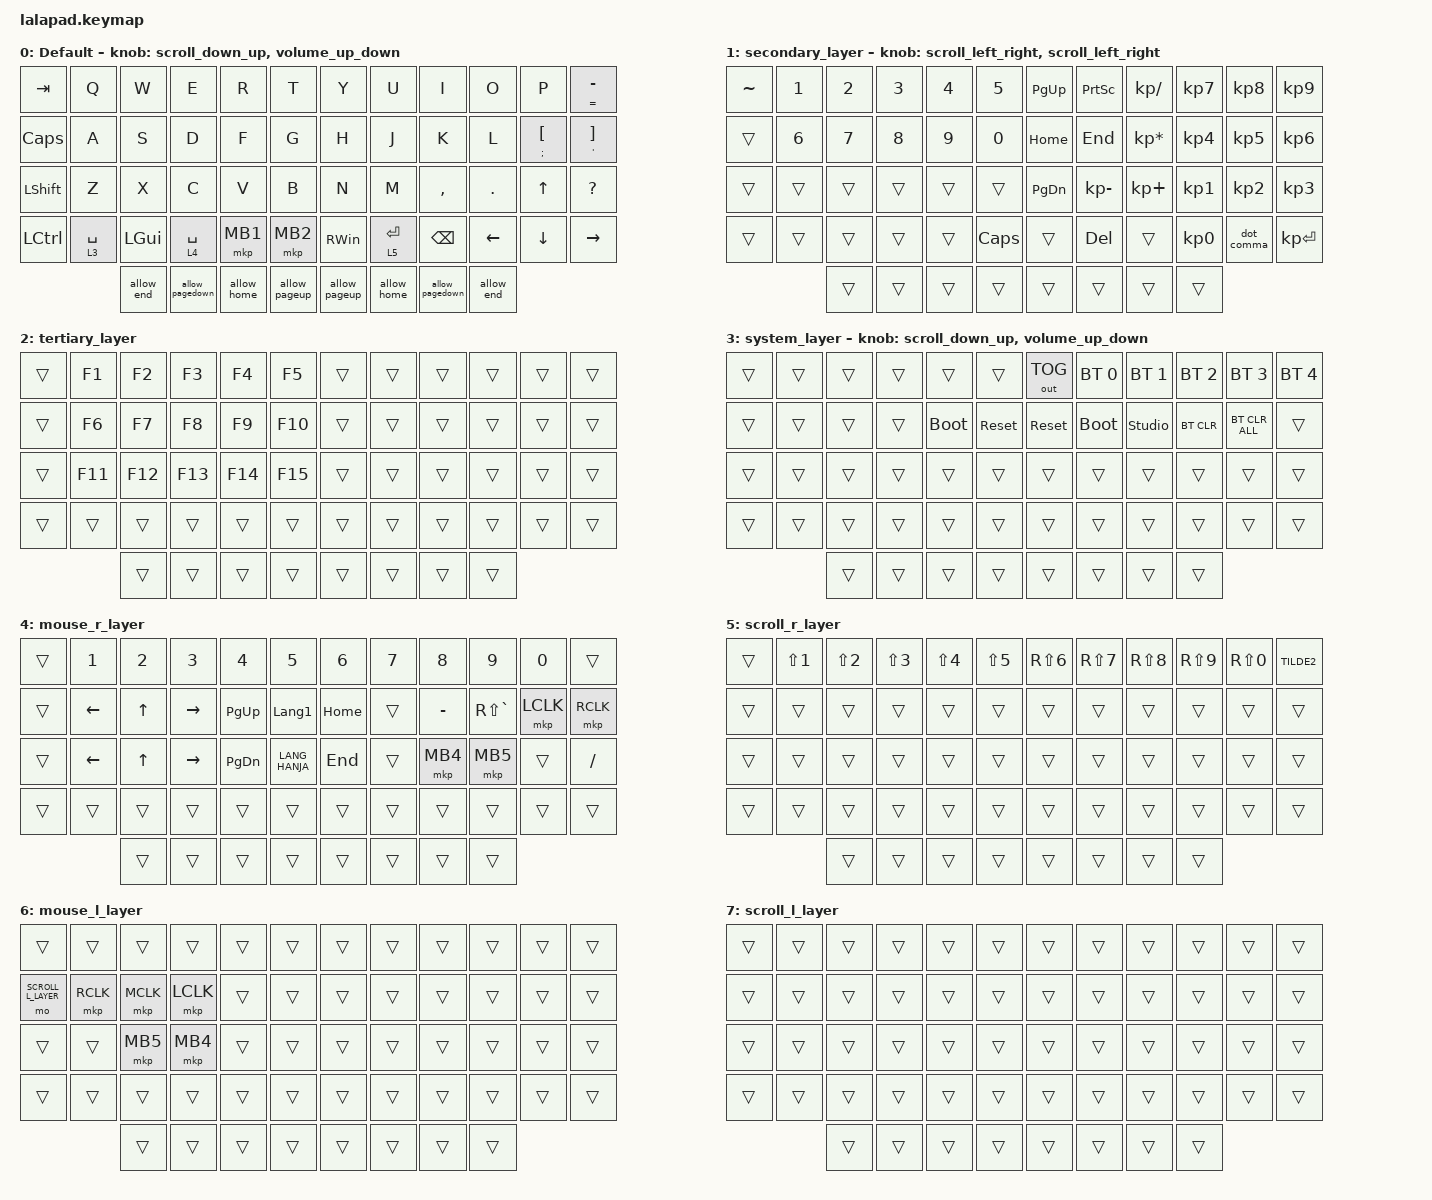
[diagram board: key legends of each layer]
#include <input/processors.dtsi>
#include <behaviors.dtsi>
#include <dt-bindings/zmk/bt.h>
#include <dt-bindings/zmk/keys.h>
#include <dt-bindings/zmk/outputs.h>
#include <dt-bindings/zmk/pointing.h>

#define DEFAULT_LAYER   0
#define SECONDARY_LAYER 1
#define TERTIARY_LAYER  2
#define SYSTEM_LAYER    3
#define MOUSE_R_LAYER   4
#define SCROLL_R_LAYER  5
#define MOUSE_L_LAYER   6
#define SCROLL_L_LAYER  7

// Mouse Scroll Value

#define ZMK_POINTING_DEFAULT_SCRL_VAL 100

// cirque trackpad input&layer control

&glidepoint_listener_R {
    input-processors =
        <&zip_xy_transform (INPUT_TRANSFORM_XY_SWAP | INPUT_TRANSFORM_X_INVERT | INPUT_TRANSFORM_Y_INVERT)>,
        <&zip_xy_scaler 3 2>,
        <&zip_temp_layer MOUSE_R_LAYER 500>;

    lowspeedmode {
        layers = <SECONDARY_LAYER>;
        input-processors =
            <&zip_xy_transform (INPUT_TRANSFORM_XY_SWAP | INPUT_TRANSFORM_X_INVERT | INPUT_TRANSFORM_Y_INVERT)>,
            <&zip_xy_scaler 3 5>,
            <&zip_temp_layer MOUSE_R_LAYER 500>;
    };

    scroller {
        layers = <SCROLL_R_LAYER>;
        input-processors =
            <&zip_xy_to_scroll_mapper>,
            <&zip_scroll_transform (INPUT_TRANSFORM_XY_SWAP | INPUT_TRANSFORM_Y_INVERT)>,
            <&zip_scroll_scaler 1 8>;
    };
};

&glidepoint_listener_L {
    input-processors =
        <&zip_xy_transform (INPUT_TRANSFORM_XY_SWAP | INPUT_TRANSFORM_X_INVERT | INPUT_TRANSFORM_Y_INVERT)>,
        <&zip_xy_scaler 3 2>,
        <&zip_temp_layer MOUSE_L_LAYER 500>;

    lowspeedmode {
        layers = <SECONDARY_LAYER>;
        input-processors =
            <&zip_xy_transform (INPUT_TRANSFORM_XY_SWAP | INPUT_TRANSFORM_X_INVERT | INPUT_TRANSFORM_Y_INVERT)>,
            <&zip_xy_scaler 3 4>,
            <&zip_temp_layer MOUSE_L_LAYER 500>;
    };

    scroller {
        layers = <SCROLL_L_LAYER>;
        input-processors =
            <&zip_xy_to_scroll_mapper>,
            <&zip_scroll_transform (INPUT_TRANSFORM_XY_SWAP | INPUT_TRANSFORM_Y_INVERT)>,
            <&zip_scroll_scaler 1 6>;
    };
};

/ {
    behaviors {
        // Encoder to Mouse Scroll

        scroll_up_down: sensor_scroll_up_down {
            compatible = "zmk,behavior-sensor-rotate";
            #sensor-binding-cells = <0>;
            bindings = <&msc SCRL_UP>, <&msc SCRL_DOWN>;

            tap-ms = <20>;
            label = "SCROLL_UP_DOWN";
        };

        scroll_down_up: sensor_scroll_down_up {
            compatible = "zmk,behavior-sensor-rotate";
            #sensor-binding-cells = <0>;
            bindings = <&msc SCRL_DOWN>, <&msc SCRL_UP>;

            tap-ms = <20>;
            label = "SCROLL_DOWN_UP";
        };

        scroll_left_right: sensor_scroll_left_right {
            compatible = "zmk,behavior-sensor-rotate";
            #sensor-binding-cells = <0>;
            bindings = <&msc SCRL_LEFT>, <&msc SCRL_RIGHT>;

            tap-ms = <20>;
            label = "SCROLL_LEFT_RIGHT";
        };

        scroll_right_left: sensor_scroll_right_left {
            compatible = "zmk,behavior-sensor-rotate";
            #sensor-binding-cells = <0>;
            bindings = <&msc SCRL_RIGHT>, <&msc SCRL_LEFT>;

            tap-ms = <20>;
            label = "SCROLL_RIGHT_LEFT";
        };

        volume_up_down: sensor_volume_up_down {
            compatible = "zmk,behavior-sensor-rotate";
            #sensor-binding-cells = <0>;
            bindings = <&kp C_VOLUME_UP>, <&kp C_VOLUME_DOWN>;

            tap-ms = <20>;
            label = "VOLUME_UP_DOWN";
        };

        dot_comma: dot_comma {
            compatible = "zmk,behavior-mod-morph";
            #binding-cells = <0>;
            bindings = <&kp KP_DOT>, <&kp COMMA>;

            mods = <(MOD_LSFT|MOD_RSFT)>;
            label = "DOT_COMMA";
        };

        pls_minus: pls_minus {
            compatible = "zmk,behavior-mod-morph";
            #binding-cells = <0>;
            bindings = <&kp PLUS>, <&kp MINUS>;

            mods = <(MOD_LSFT|MOD_RSFT)>;
            label = "PLS_MINUS";
        };

        allow_pageup: allow_pageup {
            compatible = "zmk,behavior-mod-morph";
            #binding-cells = <0>;
            bindings = <&kp UP>, <&kp PAGE_UP>;

            mods = <(MOD_LCTL|MOD_RCTL)>;
            label = "ALLOW_PAGEUP";
        };

        allow_pagedown: allow_pagedown {
            compatible = "zmk,behavior-mod-morph";
            #binding-cells = <0>;
            bindings = <&kp DOWN>, <&kp PAGE_DOWN>;

            mods = <(MOD_LCTL|MOD_RCTL)>;
            label = "ALLOW_PAGEDOWN";
        };

        allow_home: allow_home {
            compatible = "zmk,behavior-mod-morph";
            #binding-cells = <0>;
            bindings = <&kp LEFT>, <&kp HOME>;

            mods = <(MOD_LCTL|MOD_RCTL)>;
            label = "ALLOW_HOME";
        };

        allow_end: allow_end {
            compatible = "zmk,behavior-mod-morph";
            #binding-cells = <0>;
            bindings = <&kp RIGHT>, <&kp END>;

            mods = <(MOD_LCTL|MOD_RCTL)>;
            label = "ALLOW_END";
        };

        mt2: mod_tap2 {
            compatible = "zmk,behavior-hold-tap";
            #binding-cells = <2>;
            flavor = "tap-preferred";
            tapping-term-ms = <200>;
            quick-tap-ms = <200>;
            require-prior-idle-ms = <125>;
            bindings = <&kp>, <&kp>;
        };
    };

    keymap {
        compatible = "zmk,keymap";

        DEFAULT_LAYER {
            display-name = "Default";
            sensor-bindings = <&scroll_down_up>, <&volume_up_down>;

            bindings = <
&kp TAB    &kp Q        &kp W       &kp E            &kp R        &kp T          &kp Y          &kp U        &kp I            &kp O       &kp P           &mt EQUAL MINUS
&kp CAPS   &kp A        &kp S       &kp D            &kp F        &kp G          &kp H          &kp J        &kp K            &kp L       &mt2 SEMI LBKT  &mt2 SQT RBKT
&kp LSHFT  &kp Z        &kp X       &kp C            &kp V        &kp B          &kp N          &kp M        &kp COMMA        &kp PERIOD  &kp UP_ARROW    &kp QUESTION
&kp LCTRL  &lt 3 SPACE  &kp LGUI    &lt 4 SPACE      &mkp MB1     &mkp MB2       &kp RIGHT_WIN  &lt 5 RET    &kp BACKSPACE    &kp LEFT    &kp DOWN        &kp RIGHT
                        &allow_end  &allow_pagedown  &allow_home  &allow_pageup  &allow_pageup  &allow_home  &allow_pagedown  &allow_end
            >;
        };

        SECONDARY_LAYER {
            display-name = "secondary_layer";
            sensor-bindings = <&scroll_left_right>, <&scroll_left_right>;

            bindings = <
&kp TILDE  &kp NUMBER_1  &kp NUMBER_2  &kp NUMBER_3  &kp NUMBER_4  &kp NUMBER_5  &kp PAGE_UP    &kp PRINTSCREEN  &kp KP_SLASH     &kp KP_NUMBER_7  &kp KP_NUMBER_8  &kp KP_NUMBER_9
&trans     &kp NUMBER_6  &kp NUMBER_7  &kp NUMBER_8  &kp NUMBER_9  &kp NUMBER_0  &kp HOME       &kp END          &kp KP_ASTERISK  &kp KP_NUMBER_4  &kp KP_NUMBER_5  &kp KP_NUMBER_6
&trans     &trans        &trans        &trans        &trans        &trans        &kp PAGE_DOWN  &kp KP_MINUS     &kp KP_PLUS      &kp KP_NUMBER_1  &kp KP_NUMBER_2  &kp KP_NUMBER_3
&trans     &trans        &trans        &trans        &trans        &kp CAPS      &trans         &kp DELETE       &trans           &kp KP_NUMBER_0  &dot_comma       &kp KP_ENTER
                         &trans        &trans        &trans        &trans        &trans         &trans           &trans           &trans
            >;
        };

        TERTIARY_LAYER {
            display-name = "tertiary_layer";
            bindings = <
&trans  &kp F1   &kp F2   &kp F3   &kp F4   &kp F5   &trans  &trans  &trans  &trans  &trans  &trans
&trans  &kp F6   &kp F7   &kp F8   &kp F9   &kp F10  &trans  &trans  &trans  &trans  &trans  &trans
&trans  &kp F11  &kp F12  &kp F13  &kp F14  &kp F15  &trans  &trans  &trans  &trans  &trans  &trans
&trans  &trans   &trans   &trans   &trans   &trans   &trans  &trans  &trans  &trans  &trans  &trans
                 &trans   &trans   &trans   &trans   &trans  &trans  &trans  &trans
            >;
        };

        SYSTEM_LAYER {
            display-name = "system_layer";
            sensor-bindings = <&scroll_down_up>, <&volume_up_down>;

            bindings = <
&trans  &trans  &trans  &trans  &trans       &trans      &out OUT_TOG  &bt BT_SEL 0  &bt BT_SEL 1    &bt BT_SEL 2  &bt BT_SEL 3    &bt BT_SEL 4
&trans  &trans  &trans  &trans  &bootloader  &sys_reset  &sys_reset    &bootloader   &studio_unlock  &bt BT_CLR    &bt BT_CLR_ALL  &trans
&trans  &trans  &trans  &trans  &trans       &trans      &trans        &trans        &trans          &trans        &trans          &trans
&trans  &trans  &trans  &trans  &trans       &trans      &trans        &trans        &trans          &trans        &trans          &trans
                &trans  &trans  &trans       &trans      &trans        &trans        &trans          &trans
            >;
        };

        MOUSE_R_LAYER {
            display-name = "mouse_r_layer";
            bindings = <
&trans  &kp NUMBER_1    &kp NUMBER_2  &kp NUMBER_3     &kp NUMBER_4   &kp N5          &kp NUMBER_6  &kp N7  &kp N8     &kp N9         &kp N0     &trans
&trans  &kp LEFT_ARROW  &kp UP_ARROW  &kp RIGHT_ARROW  &kp PAGE_UP    &kp LANGUAGE_1  &kp HOME      &trans  &kp MINUS  &kp RS(GRAVE)  &mkp LCLK  &mkp RCLK
&trans  &kp LEFT_ARROW  &kp UP_ARROW  &kp RIGHT        &kp PAGE_DOWN  &kp LANG_HANJA  &kp END       &trans  &mkp MB4   &mkp MB5       &trans     &kp SLASH
&trans  &trans          &trans        &trans           &trans         &trans          &trans        &trans  &trans     &trans         &trans     &trans
                        &trans        &trans           &trans         &trans          &trans        &trans  &trans     &trans
            >;
        };

        SCROLL_R_LAYER {
            display-name = "scroll_r_layer";
            bindings = <
&trans  &kp LS(NUMBER_1)  &kp LS(NUMBER_2)  &kp LS(NUMBER_3)  &kp LS(NUMBER_4)  &kp LS(N5)  &kp RS(NUMBER_6)  &kp RS(N7)  &kp RS(N8)  &kp RS(N9)  &kp RS(N0)  &kp TILDE2
&trans  &trans            &trans            &trans            &trans            &trans      &trans            &trans      &trans      &trans      &trans      &trans
&trans  &trans            &trans            &trans            &trans            &trans      &trans            &trans      &trans      &trans      &trans      &trans
&trans  &trans            &trans            &trans            &trans            &trans      &trans            &trans      &trans      &trans      &trans      &trans
                          &trans            &trans            &trans            &trans      &trans            &trans      &trans      &trans
            >;
        };

        MOUSE_L_LAYER {
            display-name = "mouse_l_layer";
            bindings = <
&trans              &trans     &trans     &trans     &trans  &trans  &trans  &trans  &trans  &trans  &trans  &trans
&mo SCROLL_L_LAYER  &mkp RCLK  &mkp MCLK  &mkp LCLK  &trans  &trans  &trans  &trans  &trans  &trans  &trans  &trans
&trans              &trans     &mkp MB5   &mkp MB4   &trans  &trans  &trans  &trans  &trans  &trans  &trans  &trans
&trans              &trans     &trans     &trans     &trans  &trans  &trans  &trans  &trans  &trans  &trans  &trans
                               &trans     &trans     &trans  &trans  &trans  &trans  &trans  &trans
            >;
        };

        SCROLL_L_LAYER {
            display-name = "scroll_l_layer";
            bindings = <
&trans  &trans  &trans  &trans  &trans  &trans  &trans  &trans  &trans  &trans  &trans  &trans
&trans  &trans  &trans  &trans  &trans  &trans  &trans  &trans  &trans  &trans  &trans  &trans
&trans  &trans  &trans  &trans  &trans  &trans  &trans  &trans  &trans  &trans  &trans  &trans
&trans  &trans  &trans  &trans  &trans  &trans  &trans  &trans  &trans  &trans  &trans  &trans
                &trans  &trans  &trans  &trans  &trans  &trans  &trans  &trans
            >;
        };
    };
};
